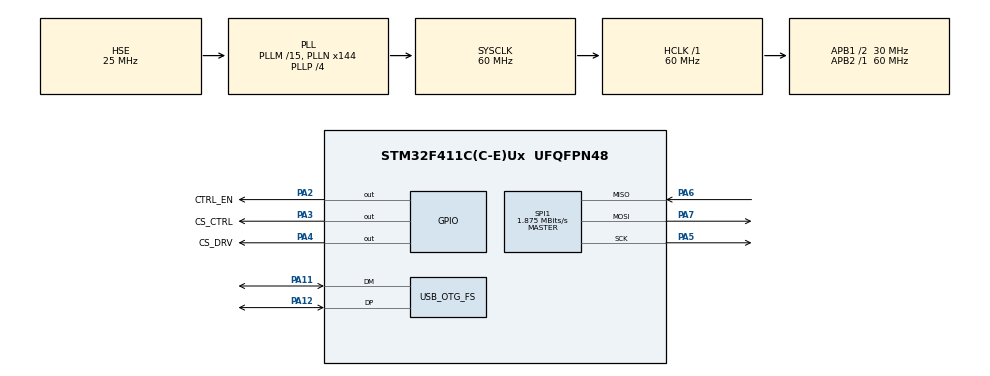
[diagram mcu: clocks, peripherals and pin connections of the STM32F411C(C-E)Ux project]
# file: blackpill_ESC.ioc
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Dma.Request0=SPI1_RX
Dma.Request1=SPI1_TX
Dma.SPI1_RX.0.Direction=DMA_PERIPH_TO_MEMORY
Dma.SPI1_RX.0.FIFOMode=DMA_FIFOMODE_DISABLE
Dma.SPI1_RX.0.Instance=DMA2_Stream0
Dma.SPI1_RX.0.MemDataAlignment=DMA_MDATAALIGN_BYTE
Dma.SPI1_RX.0.MemInc=DMA_MINC_ENABLE
Dma.SPI1_RX.0.Mode=DMA_NORMAL
Dma.SPI1_RX.0.PeriphDataAlignment=DMA_PDATAALIGN_BYTE
Dma.SPI1_RX.0.PeriphInc=DMA_PINC_DISABLE
Dma.SPI1_RX.0.Priority=DMA_PRIORITY_LOW
Dma.SPI1_TX.1.Direction=DMA_MEMORY_TO_PERIPH
Dma.SPI1_TX.1.FIFOMode=DMA_FIFOMODE_DISABLE
Dma.SPI1_TX.1.Instance=DMA2_Stream2
Dma.SPI1_TX.1.MemDataAlignment=DMA_MDATAALIGN_BYTE
Dma.SPI1_TX.1.MemInc=DMA_MINC_ENABLE
Dma.SPI1_TX.1.Mode=DMA_NORMAL
Dma.SPI1_TX.1.PeriphDataAlignment=DMA_PDATAALIGN_BYTE
Dma.SPI1_TX.1.PeriphInc=DMA_PINC_DISABLE
Dma.SPI1_TX.1.Priority=DMA_PRIORITY_LOW
Mcu.Family=STM32F4
Mcu.Name=STM32F411C(C-E)Ux
Mcu.Package=UFQFPN48
NVIC.DMA2_Stream0_IRQn=true\:0\:0\:false\:false\:true\:false\:true\:true
NVIC.DMA2_Stream2_IRQn=true\:0\:0\:false\:false\:true\:false\:true\:true
NVIC.OTG_FS_IRQn=true\:0\:0\:false\:false\:true\:false\:true\:true
NVIC.PriorityGroup=NVIC_PRIORITYGROUP_4
NVIC.SPI1_IRQn=true\:0\:0\:false\:false\:true\:true\:true\:true
NVIC.TIM1_UP_TIM10_IRQn=true\:0\:0\:false\:false\:true\:true\:true\:true
PA11.Mode=Device_Only
PA11.Signal=USB_OTG_FS_DM
PA12.Mode=Device_Only
PA12.Signal=USB_OTG_FS_DP
PA13.Mode=Serial_Wire
PA13.Signal=SYS_JTMS-SWDIO
PA14.Mode=Serial_Wire
PA14.Signal=SYS_JTCK-SWCLK
PA2.GPIO_Label=CTRL_EN
PA2.Signal=GPIO_Output
PA3.GPIO_Label=CS_CTRL
PA3.Signal=GPIO_Output
PA4.GPIO_Label=CS_DRV
PA4.Signal=GPIO_Output
PA5.Mode=Full_Duplex_Master
PA5.Signal=SPI1_SCK
PA6.Mode=Full_Duplex_Master
PA6.Signal=SPI1_MISO
PA7.Mode=Full_Duplex_Master
PA7.Signal=SPI1_MOSI
PH0\ -\ OSC_IN.Mode=HSE-External-Oscillator
PH0\ -\ OSC_IN.Signal=RCC_OSC_IN
PH1\ -\ OSC_OUT.Mode=HSE-External-Oscillator
PH1\ -\ OSC_OUT.Signal=RCC_OSC_OUT
ProjectManager.HeapSize=0x200
ProjectManager.StackSize=0x400
ProjectManager.TargetToolchain=STM32CubeIDE
RCC.48MHZClocksFreq_Value=48000000
RCC.AHBFreq_Value=60000000
RCC.APB1CLKDivider=RCC_HCLK_DIV2
RCC.APB1Freq_Value=30000000
RCC.APB1TimFreq_Value=60000000
RCC.APB2Freq_Value=60000000
RCC.APB2TimFreq_Value=60000000
RCC.CortexFreq_Value=60000000
RCC.EnbaleCSS=true
RCC.HCLKFreq_Value=60000000
RCC.HSE_VALUE=25000000
RCC.HSI_VALUE=16000000
RCC.LSE_VALUE=32768
RCC.PLLM=15
RCC.PLLN=144
RCC.PLLP=RCC_PLLP_DIV4
RCC.PLLQ=5
RCC.SYSCLKFreq_VALUE=60000000
RCC.SYSCLKSource=RCC_SYSCLKSOURCE_PLLCLK
RCC.VCOOutputFreq_Value=240000000
SPI1.BaudRatePrescaler=SPI_BAUDRATEPRESCALER_32
SPI1.CLKPhase=SPI_PHASE_2EDGE
SPI1.CLKPolarity=SPI_POLARITY_HIGH
SPI1.CalculateBaudRate=1.875 MBits/s
SPI1.Direction=SPI_DIRECTION_2LINES
SPI1.Mode=SPI_MODE_MASTER
SPI1.VirtualType=VM_MASTER
TIM10.Period=5999
USB_DEVICE.CLASS_NAME_FS=CDC
USB_DEVICE.MANUFACTURER_STRING=modFOC
USB_DEVICE.PID_CDC_FS=420
USB_DEVICE.PRODUCT_STRING_CDC_FS=modFOC-ESC
USB_DEVICE.VID=69
USB_DEVICE.VirtualMode=Cdc
USB_DEVICE.VirtualModeFS=Cdc_FS
USB_OTG_FS.VirtualMode=Device_Only
VP_TIM10_VS_ClockSourceINT.Mode=Enable_Timer
VP_USB_DEVICE_VS_USB_DEVICE_CDC_FS.Mode=CDC_FS
board=custom

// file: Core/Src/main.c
/* USER CODE BEGIN Header */
/**
  ******************************************************************************
  * @file           : main.c
  * @brief          : Main program body
  ******************************************************************************
  * @attention
  *
  * Copyright (c) 2023 STMicroelectronics.
  * All rights reserved.
  *
  * This software is licensed under terms that can be found in the LICENSE file
  * in the root directory of this software component.
  * If no LICENSE file comes with this software, it is provided AS-IS.
  *
  ******************************************************************************
  */
/* USER CODE END Header */
#include "main.h"
#include "dma.h"
#include "spi.h"
#include "tim.h"
#include "usb_device.h"
#include "gpio.h"

/* USER CODE BEGIN Includes */
#include "TMC4671.h"
#include "boards/Board.h"
#include "tmcl/IdDetection.h"
#include "tmcl/TMCL.h"
#include "tmcl/BoardAssignment.h"
#include "usbd_cdc_if.h"
#include "tmcl/RAMDebug.h"
#include "ESC.h"
/* USER CODE END Includes */

void SystemClock_Config(void);

/* USER CODE BEGIN 0 */
uint8_t tx_data[5];
uint8_t rx_data[5];
uint8_t tx_data1[5] = {0};

uint32_t val = 0;

void HAL_SPI_TxRxCpltCallback(SPI_HandleTypeDef *hspi)
{
	if(hspi->Instance == SPI1) {
		HAL_GPIO_WritePin(CTRL_EN_GPIO_Port, CS_CTRL_Pin, GPIO_PIN_SET);
	}
}

void HAL_SPI_TxCpltCallback(SPI_HandleTypeDef *hspi)
{
	if(hspi->Instance == SPI1) {
		HAL_GPIO_WritePin(CTRL_EN_GPIO_Port, CS_CTRL_Pin, GPIO_PIN_SET);
	}
}

int tmcl_transmitt(uint8_t* Buf, int Len)
{
	return CDC_Transmit_FS(Buf, Len);
}
#define MODULE_ID "0011"
const char *VersionString = MODULE_ID"V309"; // module id and version of the firmware shown in the TMCL-IDE

/* USER CODE END 0 */

int main(void)
{

  /* MCU Configuration--------------------------------------------------------*/

  /* Reset of all peripherals, Initializes the Flash interface and the Systick. */
  HAL_Init();

  /* Configure the system clock */
  SystemClock_Config();

  /* Initialize all configured peripherals */
  MX_GPIO_Init();
  MX_DMA_Init();
  MX_SPI1_Init();
  MX_USB_DEVICE_Init();
  MX_TIM10_Init();

  /* Infinite loop */
  /* USER CODE BEGIN WHILE */
  uint64_t value = 0x8100000000;

  tx_data[0] = (value >> 32) & 0xFF;
  tx_data[1] = (value >> 24) & 0xFF;
  tx_data[2] = (value >> 16) & 0xFF;
  tx_data[3] = (value >>  8) & 0xFF;
  tx_data[4] = (value >>  0) & 0xFF;
  HAL_GPIO_WritePin(CTRL_EN_GPIO_Port, CS_CTRL_Pin, GPIO_PIN_SET);
  HAL_GPIO_WritePin(CS_DRV_GPIO_Port, CS_DRV_Pin, GPIO_PIN_SET);

	//IDDetection_init();          // Initialize board detection
	tmcl_init();                 // Initialize TMCL communication

	tmcdriver_init();            // Initialize dummy driver board --> preset EvalBoards.ch2
	tmcmotioncontroller_init();  // Initialize dummy motion controller board  --> preset EvalBoards.ch1

	Evalboards.driverEnable = DRIVER_ENABLE;
	Evalboards.ch1.id = 0;       // preset id for driver board to 0 --> error/not found
	Evalboards.ch2.id = 0;       // preset id for driver board to 0 --> error/not found

	IdAssignmentTypeDef ids;
	ids.ch1.id = ID_TMC4671;
	ids.ch1.state = ID_STATE_DONE;

	ids.ch2.id = ID_TMC6100_BOB;
	ids.ch2.state = ID_STATE_DONE;
	tmcl_boot();

	Board_assign(&ids);             // assign boards with detected id

	StartupConfig();
  while (1)
  {
	  // handle RAMDebug
	debug_process();

	  // Perodic jobs of Motion controller/Driver boards
	Evalboards.ch1.periodicJob(uwTick);
	Evalboards.ch2.periodicJob(uwTick);

//	 Process TMCL communication
	tmcl_process();

//	  tmc4671_writeInt(0, TMC4671_CHIPINFO_ADDR, 0x00000001);
//	  val = tmc4671_readInt(0, TMC4671_CHIPINFO_ADDR);
	  //val = tmc4671_readInt(0, TMC4671_CHIPINFO_DATA);
	  //tmcl_processCommand();
	  //tmc4671_writeInt(0, TMC4671_CHIPINFO_DATA, 0x00000000);

//	  HAL_GPIO_WritePin(CTRL_EN_GPIO_Port, CS_CTRL_Pin, GPIO_PIN_RESET);
//	  HAL_SPI_Transmit(&hspi1, tx_data, 5, 1000);
//	  HAL_GPIO_WritePin(CTRL_EN_GPIO_Port, CS_CTRL_Pin, GPIO_PIN_SET);
//	  //HAL_Delay(1);
//	  HAL_GPIO_WritePin(CTRL_EN_GPIO_Port, CS_CTRL_Pin, GPIO_PIN_RESET);
//	  HAL_SPI_TransmitReceive_DMA(&hspi1, tx_data1, rx_data, 5);
//	  //HAL_GPIO_WritePin(CTRL_EN_GPIO_Port, CS_CTRL_Pin, GPIO_PIN_SET);
//

	  //HAL_Delay(100);
    /* USER CODE END WHILE */

  }
}

void SystemClock_Config(void)
{
  RCC_OscInitTypeDef RCC_OscInitStruct = {0};
  RCC_ClkInitTypeDef RCC_ClkInitStruct = {0};

  /** Configure the main internal regulator output voltage
  */
  __HAL_RCC_PWR_CLK_ENABLE();
  __HAL_PWR_VOLTAGESCALING_CONFIG(PWR_REGULATOR_VOLTAGE_SCALE1);

  /** Initializes the RCC Oscillators according to the specified parameters
  * in the RCC_OscInitTypeDef structure.
  */
  RCC_OscInitStruct.OscillatorType = RCC_OSCILLATORTYPE_HSE;
  RCC_OscInitStruct.HSEState = RCC_HSE_ON;
  RCC_OscInitStruct.PLL.PLLState = RCC_PLL_ON;
  RCC_OscInitStruct.PLL.PLLSource = RCC_PLLSOURCE_HSE;
  RCC_OscInitStruct.PLL.PLLM = 15;
  RCC_OscInitStruct.PLL.PLLN = 144;
  RCC_OscInitStruct.PLL.PLLP = RCC_PLLP_DIV4;
  RCC_OscInitStruct.PLL.PLLQ = 5;
  if (HAL_RCC_OscConfig(&RCC_OscInitStruct) != HAL_OK)
  {
    Error_Handler();
  }

  /** Initializes the CPU, AHB and APB buses clocks
  */
  RCC_ClkInitStruct.ClockType = RCC_CLOCKTYPE_HCLK|RCC_CLOCKTYPE_SYSCLK
                              |RCC_CLOCKTYPE_PCLK1|RCC_CLOCKTYPE_PCLK2;
  RCC_ClkInitStruct.SYSCLKSource = RCC_SYSCLKSOURCE_PLLCLK;
  RCC_ClkInitStruct.AHBCLKDivider = RCC_SYSCLK_DIV1;
  RCC_ClkInitStruct.APB1CLKDivider = RCC_HCLK_DIV2;
  RCC_ClkInitStruct.APB2CLKDivider = RCC_HCLK_DIV1;

  if (HAL_RCC_ClockConfig(&RCC_ClkInitStruct, FLASH_LATENCY_1) != HAL_OK)
  {
    Error_Handler();
  }

  /** Enables the Clock Security System
  */
  HAL_RCC_EnableCSS();
}

void Error_Handler(void)
{
  __disable_irq();
  while (1)
  {
  }
}
